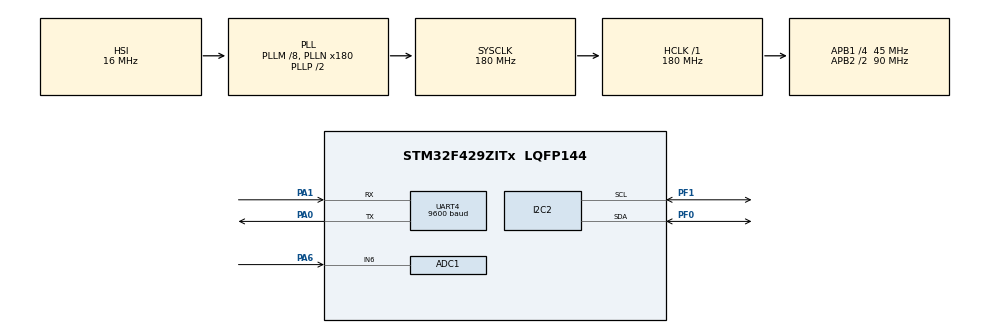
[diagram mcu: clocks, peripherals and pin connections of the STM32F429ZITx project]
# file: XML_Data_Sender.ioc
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Mcu.Family=STM32F4
Dma.ADC1.0.Instance=DMA2_Stream0
RCC.CortexFreq_Value=180000000
FREERTOS.Tasks01=defaultTask,0,128,StartDefaultTask,Default,NULL,Dynamic,NULL,NULL;taskAnalog,0,512,taskFuncAnalog,Default,NULL,Dynamic,NULL,NULL;taskBMP,0,512,taskFuncBMP,Default,NULL,Dynamic,NULL,NULL
ADC1.Rank-0\#ChannelRegularConversion=1
ADC1.ContinuousConvMode=ENABLE
PA0/WKUP.Signal=UART4_TX
RCC.APB1CLKDivider=RCC_HCLK_DIV4
UART4.VirtualMode=Asynchronous
RCC.SYSCLKSource=RCC_SYSCLKSOURCE_PLLCLK
ProjectManager.StackSize=0x400
PA13.Signal=SYS_JTMS-SWDIO
PF1.Mode=I2C
Dma.ADC1.0.PeriphDataAlignment=DMA_PDATAALIGN_HALFWORD
ProjectManager.TargetToolchain=STM32CubeIDE
Dma.ADC1.0.Mode=DMA_CIRCULAR
PH0/OSC_IN.Mode=HSE-External-Oscillator
UART4.BaudRate=9600
RCC.HCLKFreq_Value=180000000
Dma.ADC1.0.Priority=DMA_PRIORITY_LOW
RCC.APB2TimFreq_Value=180000000
Dma.ADC1.0.Direction=DMA_PERIPH_TO_MEMORY
ADC1.InjNumberOfConversion=0
PH1/OSC_OUT.Signal=RCC_OSC_OUT
NVIC.DMA2_Stream0_IRQn=true\:5\:0\:false\:false\:true\:true\:false\:true
RCC.LSE_VALUE=32768
Dma.ADC1.0.MemDataAlignment=DMA_MDATAALIGN_HALFWORD
PA1.Signal=UART4_RX
RCC.AHBFreq_Value=180000000
PA0/WKUP.Mode=Asynchronous
FREERTOS.configUSE_PREEMPTION=1
ADC1.Channel-0\#ChannelRegularConversion=ADC_CHANNEL_6
RCC.HSE_VALUE=25000000
ADC1.ScanConvMode=ENABLE
board=custom
RCC.VCOOutputFreq_Value=360000000
PH0/OSC_IN.Signal=RCC_OSC_IN
RCC.APB2Freq_Value=90000000
PA1.Mode=Asynchronous
PA14.Mode=Serial_Wire
VP_SYS_VS_tim1.Mode=TIM1
Dma.ADC1.0.PeriphInc=DMA_PINC_DISABLE
SH.SharedAnalog_PA6.0=GPIO_Analog
SH.SharedAnalog_PA6.1=ADC1_IN6,IN6
ADC1.DMAContinuousRequests=DISABLE
PF1.Signal=I2C2_SCL
VP_FREERTOS_VS_CMSIS_V1.Mode=CMSIS_V1
PA13.Mode=Serial_Wire
PH1/OSC_OUT.Mode=HSE-External-Oscillator
Mcu.Name=STM32F429ZITx
ADC1.SamplingTime-0\#ChannelRegularConversion=ADC_SAMPLETIME_3CYCLES
RCC.48MHZClocksFreq_Value=90000000
RCC.SYSCLKFreq_VALUE=180000000
Mcu.Package=LQFP144
PA6.Signal=SharedAnalog_PA6
ADC1.master=1
NVIC.TimeBase=TIM1_UP_TIM10_IRQn
NVIC.TimeBaseIP=TIM1
PA14.Signal=SYS_JTCK-SWCLK
Dma.ADC1.0.MemInc=DMA_MINC_ENABLE
ProjectManager.HeapSize=0x200
PF0.Mode=I2C
NVIC.TIM1_UP_TIM10_IRQn=true\:0\:0\:false\:false\:true\:false\:false\:true
RCC.HSI_VALUE=16000000
FREERTOS.Mutexes01=mutexUart,Dynamic,NULL
NVIC.PriorityGroup=NVIC_PRIORITYGROUP_4
ADC1.NbrOfConversionFlag=1
RCC.APB2CLKDivider=RCC_HCLK_DIV2
RCC.PLLM=8
RCC.PLLN=180
RCC.APB1TimFreq_Value=90000000
Dma.ADC1.0.FIFOMode=DMA_FIFOMODE_DISABLE
PF0.Signal=I2C2_SDA
Dma.Request0=ADC1
RCC.APB1Freq_Value=45000000

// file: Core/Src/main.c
/* USER CODE BEGIN Header */
/**
  ******************************************************************************
  * @file           : main.c
  * @brief          : Main program body
  ******************************************************************************
  * @attention
  *
  * <h2><center>&copy; Copyright (c) 2021 STMicroelectronics.
  * All rights reserved.</center></h2>
  *
  * This software component is licensed by ST under BSD 3-Clause license,
  * the "License"; You may not use this file except in compliance with the
  * License. You may obtain a copy of the License at:
  *                        opensource.org/licenses/BSD-3-Clause
  *
  ******************************************************************************
  */
/* USER CODE END Header */
#include "main.h"
#include "cmsis_os.h"

/* USER CODE BEGIN Includes */
#include <stdio.h>
#include <string.h>
#include <stdint.h>
#include "BMP180.h"
/* USER CODE END Includes */

ADC_HandleTypeDef hadc1;
DMA_HandleTypeDef hdma_adc1;

I2C_HandleTypeDef hi2c2;

UART_HandleTypeDef huart4;

osThreadId defaultTaskHandle;
osThreadId taskAnalogHandle;
osThreadId taskBMPHandle;
osMutexId mutexUartHandle;
/* USER CODE BEGIN PV */
float temperature, tempFrac;
int tempInt1, tempInt2, presInt;
uint8_t semaphorePrimitive=0;
/* USER CODE END PV */

void SystemClock_Config(void);
static void MX_GPIO_Init(void);
static void MX_DMA_Init(void);
static void MX_UART4_Init(void);
static void MX_I2C2_Init(void);
static void MX_ADC1_Init(void);
void StartDefaultTask(void const * argument);
void taskFuncAnalog(void const * argument);
void taskFuncBMP(void const * argument);

/* USER CODE BEGIN PFP */
void printXmlHeader(void);

/* USER CODE END PFP */

int main(void)
{

  /* MCU Configuration--------------------------------------------------------*/

  /* Reset of all peripherals, Initializes the Flash interface and the Systick. */
  HAL_Init();

  /* Configure the system clock */
  SystemClock_Config();

  /* Initialize all configured peripherals */
  MX_GPIO_Init();
  MX_DMA_Init();
  MX_UART4_Init();
  MX_I2C2_Init();
  MX_ADC1_Init();

  /* Create the mutex(es) */
  /* definition and creation of mutexUart */
  osMutexDef(mutexUart);
  mutexUartHandle = osMutexCreate(osMutex(mutexUart));

  /* Create the thread(s) */
  /* definition and creation of defaultTask */
  osThreadDef(defaultTask, StartDefaultTask, osPriorityNormal, 0, 128);
  defaultTaskHandle = osThreadCreate(osThread(defaultTask), NULL);

  /* definition and creation of taskAnalog */
  osThreadDef(taskAnalog, taskFuncAnalog, osPriorityNormal, 0, 512);
  taskAnalogHandle = osThreadCreate(osThread(taskAnalog), NULL);

  /* definition and creation of taskBMP */
  osThreadDef(taskBMP, taskFuncBMP, osPriorityNormal, 0, 512);
  taskBMPHandle = osThreadCreate(osThread(taskBMP), NULL);

  /* Start scheduler */
  osKernelStart();

  /* We should never get here as control is now taken by the scheduler */
  /* Infinite loop */
  while (1)
  {

  }
}

void SystemClock_Config(void)
{
  RCC_OscInitTypeDef RCC_OscInitStruct = {0};
  RCC_ClkInitTypeDef RCC_ClkInitStruct = {0};

  /** Configure the main internal regulator output voltage
  */
  __HAL_RCC_PWR_CLK_ENABLE();
  __HAL_PWR_VOLTAGESCALING_CONFIG(PWR_REGULATOR_VOLTAGE_SCALE1);
  /** Initializes the RCC Oscillators according to the specified parameters
  * in the RCC_OscInitTypeDef structure.
  */
  RCC_OscInitStruct.OscillatorType = RCC_OSCILLATORTYPE_HSI;
  RCC_OscInitStruct.HSIState = RCC_HSI_ON;
  RCC_OscInitStruct.HSICalibrationValue = RCC_HSICALIBRATION_DEFAULT;
  RCC_OscInitStruct.PLL.PLLState = RCC_PLL_ON;
  RCC_OscInitStruct.PLL.PLLSource = RCC_PLLSOURCE_HSI;
  RCC_OscInitStruct.PLL.PLLM = 8;
  RCC_OscInitStruct.PLL.PLLN = 180;
  RCC_OscInitStruct.PLL.PLLP = RCC_PLLP_DIV2;
  RCC_OscInitStruct.PLL.PLLQ = 4;
  if (HAL_RCC_OscConfig(&RCC_OscInitStruct) != HAL_OK)
  {
    Error_Handler();
  }
  /** Activate the Over-Drive mode
  */
  if (HAL_PWREx_EnableOverDrive() != HAL_OK)
  {
    Error_Handler();
  }
  /** Initializes the CPU, AHB and APB buses clocks
  */
  RCC_ClkInitStruct.ClockType = RCC_CLOCKTYPE_HCLK|RCC_CLOCKTYPE_SYSCLK
                              |RCC_CLOCKTYPE_PCLK1|RCC_CLOCKTYPE_PCLK2;
  RCC_ClkInitStruct.SYSCLKSource = RCC_SYSCLKSOURCE_PLLCLK;
  RCC_ClkInitStruct.AHBCLKDivider = RCC_SYSCLK_DIV1;
  RCC_ClkInitStruct.APB1CLKDivider = RCC_HCLK_DIV4;
  RCC_ClkInitStruct.APB2CLKDivider = RCC_HCLK_DIV2;

  if (HAL_RCC_ClockConfig(&RCC_ClkInitStruct, FLASH_LATENCY_5) != HAL_OK)
  {
    Error_Handler();
  }
}

static void MX_ADC1_Init(void)
{

  ADC_ChannelConfTypeDef sConfig = {0};

  /** Configure the global features of the ADC (Clock, Resolution, Data Alignment and number of conversion)
  */
  hadc1.Instance = ADC1;
  hadc1.Init.ClockPrescaler = ADC_CLOCK_SYNC_PCLK_DIV4;
  hadc1.Init.Resolution = ADC_RESOLUTION_12B;
  hadc1.Init.ScanConvMode = ENABLE;
  hadc1.Init.ContinuousConvMode = ENABLE;
  hadc1.Init.DiscontinuousConvMode = DISABLE;
  hadc1.Init.ExternalTrigConvEdge = ADC_EXTERNALTRIGCONVEDGE_NONE;
  hadc1.Init.ExternalTrigConv = ADC_SOFTWARE_START;
  hadc1.Init.DataAlign = ADC_DATAALIGN_RIGHT;
  hadc1.Init.NbrOfConversion = 1;
  hadc1.Init.DMAContinuousRequests = DISABLE;
  hadc1.Init.EOCSelection = ADC_EOC_SINGLE_CONV;
  if (HAL_ADC_Init(&hadc1) != HAL_OK)
  {
    Error_Handler();
  }
  /** Configure for the selected ADC regular channel its corresponding rank in the sequencer and its sample time.
  */
  sConfig.Channel = ADC_CHANNEL_6;
  sConfig.Rank = 1;
  sConfig.SamplingTime = ADC_SAMPLETIME_3CYCLES;
  if (HAL_ADC_ConfigChannel(&hadc1, &sConfig) != HAL_OK)
  {
    Error_Handler();
  }

}

static void MX_I2C2_Init(void)
{

  hi2c2.Instance = I2C2;
  hi2c2.Init.ClockSpeed = 100000;
  hi2c2.Init.DutyCycle = I2C_DUTYCYCLE_2;
  hi2c2.Init.OwnAddress1 = 0;
  hi2c2.Init.AddressingMode = I2C_ADDRESSINGMODE_7BIT;
  hi2c2.Init.DualAddressMode = I2C_DUALADDRESS_DISABLE;
  hi2c2.Init.OwnAddress2 = 0;
  hi2c2.Init.GeneralCallMode = I2C_GENERALCALL_DISABLE;
  hi2c2.Init.NoStretchMode = I2C_NOSTRETCH_DISABLE;
  if (HAL_I2C_Init(&hi2c2) != HAL_OK)
  {
    Error_Handler();
  }
  /** Configure Analogue filter
  */
  if (HAL_I2CEx_ConfigAnalogFilter(&hi2c2, I2C_ANALOGFILTER_ENABLE) != HAL_OK)
  {
    Error_Handler();
  }
  /** Configure Digital filter
  */
  if (HAL_I2CEx_ConfigDigitalFilter(&hi2c2, 0) != HAL_OK)
  {
    Error_Handler();
  }

}

static void MX_UART4_Init(void)
{

  huart4.Instance = UART4;
  huart4.Init.BaudRate = 9600;
  huart4.Init.WordLength = UART_WORDLENGTH_8B;
  huart4.Init.StopBits = UART_STOPBITS_1;
  huart4.Init.Parity = UART_PARITY_NONE;
  huart4.Init.Mode = UART_MODE_TX_RX;
  huart4.Init.HwFlowCtl = UART_HWCONTROL_NONE;
  huart4.Init.OverSampling = UART_OVERSAMPLING_16;
  if (HAL_UART_Init(&huart4) != HAL_OK)
  {
    Error_Handler();
  }

}

static void MX_DMA_Init(void)
{

  /* DMA controller clock enable */
  __HAL_RCC_DMA2_CLK_ENABLE();

  /* DMA interrupt init */
  /* DMA2_Stream0_IRQn interrupt configuration */
  HAL_NVIC_SetPriority(DMA2_Stream0_IRQn, 5, 0);
  HAL_NVIC_EnableIRQ(DMA2_Stream0_IRQn);

}

static void MX_GPIO_Init(void)
{

  /* GPIO Ports Clock Enable */
  __HAL_RCC_GPIOF_CLK_ENABLE();
  __HAL_RCC_GPIOH_CLK_ENABLE();
  __HAL_RCC_GPIOA_CLK_ENABLE();

}

/* USER CODE BEGIN 4 */
void printXmlHeader()
{
	char header[]="<?xml version=\"1.0\" encoding=\"UTF-8\"?>\n";

	HAL_UART_Transmit(&huart4, (uint8_t*)&header, strlen(header), 1000);
}

/* USER CODE END 4 */

void StartDefaultTask(void const * argument)
{
  /* USER CODE BEGIN 5 */
	//char dataStart[]="<!-- IDLE Task - Selcuk Altinay -->\n";
  /* Infinite loop */
  for(;;)
  {
	/*osMutexWait(mutexUartHandle, osWaitForever);
	HAL_UART_Transmit(&huart4, (uint8_t*)&dataStart, strlen(dataStart), 1000);
	osMutexRelease(mutexUartHandle);*/
    osDelay(50);
  }
  /* USER CODE END 5 */
}

void taskFuncAnalog(void const * argument)
{
  /* USER CODE BEGIN taskFuncAnalog */
  static int analogData=0;
  static int analogSample=0;
  static char uartMsg[150];
  static int xmlHeader=0;
  //osSemaphoreRelease(semaphoreXmlHandle);
  /* Infinite loop */
  for(;;)
  {

	osMutexWait(mutexUartHandle, osWaitForever);
	if(semaphorePrimitive==0)
	{
		if(xmlHeader=0)
		{
			printXmlHeader();
			++xmlHeader;
			sprintf(uartMsg, "<uartXmlData>\n");
			HAL_UART_Transmit(&huart4, (uint8_t*)&uartMsg, strlen(uartMsg), HAL_MAX_DELAY);
		}
		sprintf(uartMsg, "<context id=\"Analog\">\n<sensorName>AnalogPin</sensorName>\n<value>%d</value>\n<sampleNumber>%d</sampleNumber>\n</context>\n", analogData, analogSample);
		++analogSample;
		HAL_UART_Transmit(&huart4, (uint8_t*)&uartMsg, strlen(uartMsg), HAL_MAX_DELAY);
		semaphorePrimitive=1;
	}
	osMutexRelease(mutexUartHandle);

    osDelay(50);
  }
  /* USER CODE END taskFuncAnalog */
}

void taskFuncBMP(void const * argument)
{
  /* USER CODE BEGIN taskFuncBMP */
  static char uartMsg[150];
  BMP180_Init();
  static int sampleCounter=0;
  /* Infinite loop */
  for(;;)
  {
	  osMutexWait(mutexUartHandle, osWaitForever);
	  BMP180_GetTemperature();
	  BMP180_GetPressure();
	  temperature=comTemp*0.1;
	  tempInt1 = temperature;
	  tempFrac = temperature-tempInt1;
	  tempInt2 = tempFrac*10000;
	  if(semaphorePrimitive==1)
	  {
		  sprintf(uartMsg, "<context id=\"Temperature\">\n<sensorName>BMP180</sensorName>\n<value>%d.%d</value>\n<sampleNumber>%d</sampleNumber>\n</context>\n",tempInt1,tempInt2,sampleCounter);
		  HAL_UART_Transmit(&huart4,(uint8_t*)&uartMsg, strlen(uartMsg),HAL_MAX_DELAY);
		  presInt=10000*comPressure;
		  sprintf(uartMsg, "<context id=\"Pressure\">\n<sensorName>BMP180</sensorName>\n<value>%d</value>\n<sampleNumber>%d</sampleNumber>\n</context>\r\n",presInt,sampleCounter);
		  HAL_UART_Transmit(&huart4,(uint8_t*)&uartMsg,strlen(uartMsg),HAL_MAX_DELAY);
		  semaphorePrimitive=0;
		  ++sampleCounter;
	  }
	  osMutexRelease(mutexUartHandle);

	osDelay(50);
  }
  /* USER CODE END taskFuncBMP */
}

 /**
  * @brief  Period elapsed callback in non blocking mode
  * @note   This function is called  when TIM1 interrupt took place, inside
  * HAL_TIM_IRQHandler(). It makes a direct call to HAL_IncTick() to increment
  * a global variable "uwTick" used as application time base.
  * @param  htim : TIM handle
  * @retval None
  */
void HAL_TIM_PeriodElapsedCallback(TIM_HandleTypeDef *htim)
{
  if (htim->Instance == TIM1) {
    HAL_IncTick();
  }
}

void Error_Handler(void)
{
  __disable_irq();
  while (1)
  {
  }
}

/************************ (C) COPYRIGHT STMicroelectronics *****END OF FILE****/
